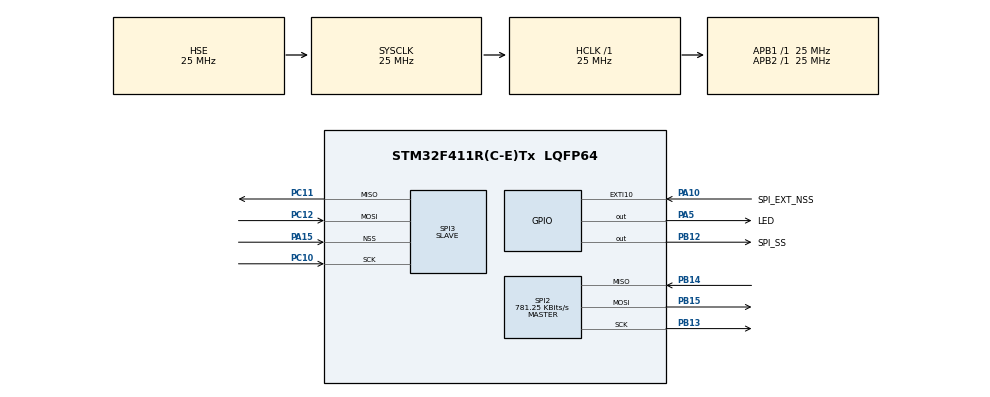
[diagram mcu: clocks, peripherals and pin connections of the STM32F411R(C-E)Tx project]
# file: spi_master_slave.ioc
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Mcu.Family=STM32F4
Mcu.Name=STM32F411R(C-E)Tx
Mcu.Package=LQFP64
NVIC.PriorityGroup=NVIC_PRIORITYGROUP_4
NVIC.SPI2_IRQn=true\:0\:0\:false\:false\:true\:true\:true\:true
NVIC.SPI3_IRQn=true\:0\:0\:false\:false\:true\:true\:true\:true
PA10.GPIO_Label=SPI_EXT_NSS
PA10.GPIO_ModeDefaultEXTI=GPIO_MODE_IT_RISING_FALLING
PA10.Signal=GPXTI10
PA13.Mode=Serial_Wire
PA13.Signal=SYS_JTMS-SWDIO
PA14.Mode=Serial_Wire
PA14.Signal=SYS_JTCK-SWCLK
PA15.Mode=NSS_Signal_Hard_Input
PA15.Signal=SPI3_NSS
PA5.GPIO_Label=LED
PA5.Signal=GPIO_Output
PB12.GPIO_Label=SPI_SS
PB12.GPIO_Speed=GPIO_SPEED_FREQ_VERY_HIGH
PB12.PinState=GPIO_PIN_SET
PB12.Signal=GPIO_Output
PB13.Mode=Full_Duplex_Master
PB13.Signal=SPI2_SCK
PB14.Mode=Full_Duplex_Master
PB14.Signal=SPI2_MISO
PB15.Mode=Full_Duplex_Master
PB15.Signal=SPI2_MOSI
PC10.Mode=Full_Duplex_Slave
PC10.Signal=SPI3_SCK
PC11.Mode=Full_Duplex_Slave
PC11.Signal=SPI3_MISO
PC12.Mode=Full_Duplex_Slave
PC12.Signal=SPI3_MOSI
PH0\ -\ OSC_IN.Mode=HSE-External-Oscillator
PH0\ -\ OSC_IN.Signal=RCC_OSC_IN
PH1\ -\ OSC_OUT.Mode=HSE-External-Oscillator
PH1\ -\ OSC_OUT.Signal=RCC_OSC_OUT
ProjectManager.HeapSize=0x200
ProjectManager.StackSize=0x400
ProjectManager.TargetToolchain=STM32CubeIDE
RCC.AHBFreq_Value=25000000
RCC.APB1Freq_Value=25000000
RCC.APB1TimFreq_Value=25000000
RCC.APB2Freq_Value=25000000
RCC.APB2TimFreq_Value=25000000
RCC.CortexFreq_Value=25000000
RCC.HCLKFreq_Value=25000000
RCC.HSE_VALUE=25000000
RCC.HSI_VALUE=16000000
RCC.LSE_VALUE=32768
RCC.SYSCLKFreq_VALUE=25000000
RCC.SYSCLKSource=RCC_SYSCLKSOURCE_HSE
RCC.VCOOutputFreq_Value=192000000
SPI2.BaudRatePrescaler=SPI_BAUDRATEPRESCALER_32
SPI2.CalculateBaudRate=781.25 KBits/s
SPI2.Direction=SPI_DIRECTION_2LINES
SPI2.Mode=SPI_MODE_MASTER
SPI2.VirtualType=VM_MASTER
SPI3.Direction=SPI_DIRECTION_2LINES
SPI3.Mode=SPI_MODE_SLAVE
SPI3.VirtualNSS=VM_NSSHARD
SPI3.VirtualType=VM_SLAVE
board=custom

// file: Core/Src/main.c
/* USER CODE BEGIN Header */
/**
  ******************************************************************************
  * @file           : main.c
  * @brief          : Main program body
  ******************************************************************************
  * @attention
  *
  * Copyright (c) 2025 STMicroelectronics.
  * All rights reserved.
  *
  * This software is licensed under terms that can be found in the LICENSE file
  * in the root directory of this software component.
  * If no LICENSE file comes with this software, it is provided AS-IS.
  *
  ******************************************************************************
  */
/* USER CODE END Header */
#include "main.h"
#include "spi.h"
#include "gpio.h"

/* USER CODE BEGIN PD */
//#define SPI_EXAMPLE_SLAVE
#define SPI_EXAMPLE_MASTER

/* USER CODE END PD */

/* USER CODE BEGIN PV */
uint8_t valTx;
uint8_t valRx;
uint8_t flagLed;
uint8_t flagTx;
/* USER CODE END PV */

void SystemClock_Config(void);

/* USER CODE BEGIN 0 */
#ifdef SPI_EXAMPLE_MASTER
void HAL_SPI_TxCpltCallback(SPI_HandleTypeDef * hspi){
	HAL_GPIO_WritePin(SPI_SS_GPIO_Port, SPI_SS_Pin, GPIO_PIN_SET);
	flagTx = 1;
}
#elif defined (SPI_EXAMPLE_SLAVE)
void HAL_GPIO_EXTI_Callback(uint16_t GPIO_Pin){
	if(HAL_GPIO_ReadPin(SPI_EXT_NSS_GPIO_Port, SPI_EXT_NSS_Pin) == GPIO_PIN_RESET){
		flagRx = 1;
	}
	else {
		flagLed = 1;
	}
}
#endif
/* USER CODE END 0 */

int main(void)
{

  /* MCU Configuration--------------------------------------------------------*/

  /* Reset of all peripherals, Initializes the Flash interface and the Systick. */
  HAL_Init();

  /* Configure the system clock */
  SystemClock_Config();

  /* Initialize all configured peripherals */
  MX_GPIO_Init();
  MX_SPI2_Init();
  MX_SPI3_Init();

  /* Infinite loop */
  /* USER CODE BEGIN WHILE */
  valTx = 0;
  valRx = 0;
  flagLed = 0;
  flagTx = 0;
  while (1)
  {
#ifdef SPI_EXAMPLE_MASTER
	  HAL_GPIO_WritePin(LED_GPIO_Port, LED_Pin, GPIO_PIN_RESET);

	  HAL_GPIO_WritePin(SPI_SS_GPIO_Port, SPI_SS_Pin, GPIO_PIN_RESET);
	  HAL_SPI_Transmit_IT(&hspi2, &valTx, 1);
	  while(flagTx == 0);

	  HAL_GPIO_WritePin(SPI_SS_GPIO_Port, SPI_SS_Pin, GPIO_PIN_RESET);
	  HAL_SPI_Receive(&hspi2, &valRx, 1, 100);
	  HAL_GPIO_WritePin(SPI_SS_GPIO_Port, SPI_SS_Pin, GPIO_PIN_SET);

	  HAL_Delay(100);
	  HAL_GPIO_WritePin(LED_GPIO_Port, LED_Pin, GPIO_PIN_SET);

	  valTx++;
	  HAL_Delay(400);
#elif defined (SPI_EXAMPLE_SLAVE)
	  if(flagRx == 1){
		  HAL_SPI_Receive(&hspi3, &valRx, 1, 100);
		  flagRx = 0;
	  }
	  if (flagLed == 1){
		  HAL_SPI_Transmit(&hspi3, &valTx, 1, 100);
		  valTx = ValRx;

		  HAL_GPIO_WritePin(LED_GPIO_Port, LED_Pin, GPIO_PIN_RESET);
		  HAL_Delay(50);
		  HAL_GPIO_WritePin(LED_GPIO_Port, LED_Pin, GPIO_PIN_SET);
		  flagLed = 0;
	  }
#endif

    /* USER CODE END WHILE */

  }
}

void SystemClock_Config(void)
{
  RCC_OscInitTypeDef RCC_OscInitStruct = {0};
  RCC_ClkInitTypeDef RCC_ClkInitStruct = {0};

  /** Configure the main internal regulator output voltage
  */
  __HAL_RCC_PWR_CLK_ENABLE();
  __HAL_PWR_VOLTAGESCALING_CONFIG(PWR_REGULATOR_VOLTAGE_SCALE1);

  /** Initializes the RCC Oscillators according to the specified parameters
  * in the RCC_OscInitTypeDef structure.
  */
  RCC_OscInitStruct.OscillatorType = RCC_OSCILLATORTYPE_HSE;
  RCC_OscInitStruct.HSEState = RCC_HSE_ON;
  RCC_OscInitStruct.PLL.PLLState = RCC_PLL_NONE;
  if (HAL_RCC_OscConfig(&RCC_OscInitStruct) != HAL_OK)
  {
    Error_Handler();
  }

  /** Initializes the CPU, AHB and APB buses clocks
  */
  RCC_ClkInitStruct.ClockType = RCC_CLOCKTYPE_HCLK|RCC_CLOCKTYPE_SYSCLK
                              |RCC_CLOCKTYPE_PCLK1|RCC_CLOCKTYPE_PCLK2;
  RCC_ClkInitStruct.SYSCLKSource = RCC_SYSCLKSOURCE_HSE;
  RCC_ClkInitStruct.AHBCLKDivider = RCC_SYSCLK_DIV1;
  RCC_ClkInitStruct.APB1CLKDivider = RCC_HCLK_DIV1;
  RCC_ClkInitStruct.APB2CLKDivider = RCC_HCLK_DIV1;

  if (HAL_RCC_ClockConfig(&RCC_ClkInitStruct, FLASH_LATENCY_0) != HAL_OK)
  {
    Error_Handler();
  }
}

void Error_Handler(void)
{
  __disable_irq();
  while (1)
  {
  }
}
